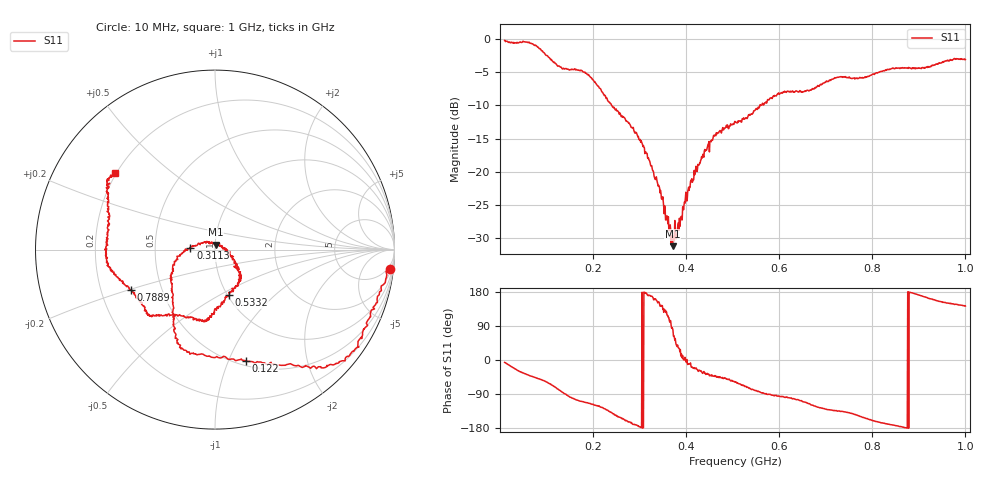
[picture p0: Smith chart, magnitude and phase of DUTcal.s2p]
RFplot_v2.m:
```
clear all
clc
%%%%% Declaration in the table
C0=-4.3* 1e-15
C1= 0.1 * 1e-27
C2=-11.5*1e-36
C3=0.12*1e-45


%%%%%%%%%%%%%%%%%%%%%%%%%%%%%%%%%%%%%%%%%%%%%%short calc

fid1 = fopen('short.s2p','r'); 
data = textscan(fid1,'%f %f %f %f %f %f %f  %f %f %f %f','HeaderLines',4);
formated_data = cell2mat(data);

real1=formated_data(:,2);
imag1=formated_data(:,3);
Gs1short(:,1) = real1+j*imag1;

        f=formated_data(:,1);

%%%%% mm to m conversion of lenth
l=8.4973 * 10^-3

% %%%%%%%%%%%%%%%%%%%%%%%%%%%%%%%%%
% f=1.5*10^9:0.006875000*10^9:7*10^9    

c= physconst('LightSpeed')
z0=50
%%%%%%%%%%%%%%%%%%%%%%%%%%%%%%%%%%%%%%%
lambda = c./f
Beta=(2*pi)./lambda
%%%%%%%%%%%%%%%%%%%%%%%%%%%%%%%%%%%%%%%%%%%%%%%%%%%%%%%%%%%%%%%%% reflection of open

Ce= (C0) + (C1.*f)+(C2*f.^2)+(C3*f.^3)

Grefl_open = rot90 (((1-2*j.*pi.*f.*Ce.*z0)./(1+2.*pi.*Ce.*z0)).*exp(-2j.*Beta.*l))
%%%%%%%%%%%%%%%%%%%%%%%%%%%%%%%%%%%%%%%%%%%%%%%%%%%%%%%%%%%%%%%%%%%%%%%%%%%%%%%%%%%%%%%%%%%%%%%%%%%%%%%%%%%%%%%%%%%%%%%%%%%%%%%%%%




% figure(1)
% plot(f,real(Grefl_open),f,imag(Grefl_open))
% legend('real','imaginary')
% xlabel ('Frequency Hz')
% title('open')
% grid on


% figure(2)
% plot(f,Grefl_db_open)
% grid on
% ylabel ('dB')
% xlabel ('Frequency Hz')
% 
% ylim([-2 2])
% xlim([10 10*10^9])




%%%%%%%%%%%%%%%%%%%%%%%%%%%%%%%%%%%%%%%%%%%%%%short calc

L=0

Grefl_short = rot90( ((j*2.*pi.*f.*L - z0)./(j.*2.*pi.*L + z0)).*exp(-2j.*Beta.*l) )

%%%%%%%%%%%%%%%%%%%%%%%%%%%%%%%%%%%%%%%%%%%%%%short calc




% figure(3)
% plot(f,real(Grefl_short),f,imag(Grefl_short))
% legend('real','imaginary')
% 
% % plot(f,Grefl_db_short)
% grid on
% title('short')
% ylabel ('dB')
% xlabel ('Frequency Hz')
% 





 
        
 %%%%%%%%%%%%%%%%%%%%%%%%%%%%%%%%%%%%%%%%%%%%%%open calc       
fid2 = fopen('open.s2p','r'); 
data2 = textscan(fid2,'%f %f %f %f %f %f %f  %f %f %f %f','HeaderLines',4);
formated_data2 = cell2mat(data2);

real2=formated_data2(:,2);
imag2=formated_data2(:,3);
Gs2open(:,1) = real2+j*imag2;
        
 %%%%%%%%%%%%%%%%%%%%%%%%%%%%%%%%%%%%%%%%%%%%%%load      
        fid3 = fopen('load.s2p','r'); 
data3 = textscan(fid3,'%f %f %f %f %f %f %f  %f %f %f %f','HeaderLines',4);
formated_data3 = cell2mat(data3);

real3=formated_data3(:,2);
imag3=formated_data3(:,3);
Gs3load(:,1) = real3+j*imag3;
                
 %%%%%%%%%%%%%%%%%%%%%%%%%%%%%%%%%%%%%%%%%%%%%%Gdutm     
                fid4 = fopen('DUTuncal.s2p','r'); 
data4 = textscan(fid4,'%f %f %f %f %f %f %f  %f %f %f %f','HeaderLines',4);
formated_data4 = cell2mat(data4);

real4=formated_data4(:,2);
imag4=formated_data4(:,3);
Gdutm(:,1) = real4+j*imag4;

Grefl_load=zeros(length(f),1);  %Grefl_load=1 Cannot be one




for i=1:length(f)   %The index has to have two terms removed because it starts with 1 and 1 already
        A=[1,Grefl_short(i).*Gs1short(i),-Grefl_short(i);1,Grefl_open(i).*Gs2open(i),-Grefl_open(i);1,Grefl_load(i).*Gs3load(i),-Grefl_load(i)];
        B=[Gs1short(i);Gs2open(i);Gs3load(i)];
        X=linsolve(A,B); %Calculated error terms
        e00(i,1)=X(1,1); %Directivity
        e11(i,1)=X(2,1); %Source Match
        delta_e(i,1)=X(3,1);
end

e10e01=(e00.*e11)-delta_e; %Reflection Tracking


%%%%%%%%%%%%%%%%%%%%%%%%%%%%%%%%%%%%Final part
R=(Gdutm-e00)./((Gdutm.*e11)-delta_e); %Real correct S11





 %%%%%%%%%%%%%%%%%%%%%%%%%%%%%%%%%%%%%%%%%%%%%%Gdutm     
fid5 = fopen('DUTcal.s2p','r');  
data5 = textscan(fid5,'%f %f %f %f %f %f %f  %f %f %f %f','HeaderLines',4);
formated_data5 = cell2mat(data5);

real5=formated_data5(:,2);
imag5=formated_data5(:,3);
Gmes(:,1) = real5+j*imag5;

 
figure(1)
plot(f/10^9,db(R),'-red',f/10^9,db(Gmes),'-blue',f/10^9,db(Gdutm),'-black')
grid on
legend('Corrected from Process','Measured in reality','not calibrated')
xlabel('Frequency in GHz')
ylabel('Magnitude')

figure(2)
plot(f/10^9,unwrap(angle(R)),'-red',f/10^9,unwrap(angle(Gmes)),'-blue',f/10^9,unwrap(angle(Gdutm)),'-black')
grid on
legend('Corrected from Process','Measured in reality','not calibrated')
xlabel('Frequency in GHz')
ylabel('Angle')
%e10e01=e00*e11-delta_e
%Gdut= (1/e11)*((e00-Gdutm)/(e00-((e10e01)/e11)-Gdutm))


figure(3)
plot(f/10^9,db(e00),'-red',f/10^9,db(e11),'-blue',f/10^9,db(delta_e),'-black')
grid on
legend('Directivity','Source Match','Tracking?')
xlabel('Frequency in GHz')
ylabel('Angle')
```
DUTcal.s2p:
! PocketVna 1.57  pocketvna.com
! Live measurements ((Reflection-S11) Linear 10000000-1000000000/1000 calibrated)
# Hz S RI R 50
! Hz  ReS11  ImS11  ReS21  ImS21  ReS12  ImS12  ReS22  ImS22
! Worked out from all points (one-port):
!   1000 points, 10 MHz to 1 GHz, reference 50 ohm
!   lowest |S11| = -31.3 dB at 370.7 MHz (marker M1), VSWR 1.06, Z = 50.2 + j2.73 ohm
!   |S11| at or under -10 dB: 240 MHz to 558.6 MHz (318.6 MHz wide, 79.8 % of centre)
!   S11 on the Smith chart (normalised r, x): 10 MHz: 3, -17; 122 MHz: 0.55, -1.16; 311.3 MHz: 0.76, +0.01; 533.2 MHz: 1.02, -0.55; 788.9 MHz: 0.33, -0.20; 1 GHz: 0.19, +0.33
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1e7  0.9744 -0.1102  0 0  0 0  0 0
6.252252e7  0.7251 -0.6196  0 0  0 0  0 0
1.21982e8  0.1708 -0.6189  0 0  0 0  0 0
1.814414e8  -0.2064 -0.5257  0 0  0 0  0 0
3.112613e8  -0.1367 0.00738  0 0  0 0  0 0
3.707207e8  0.00315 0.0271  0 0  0 0  0 0
4.440541e8  0.1152 -0.0889  0 0  0 0  0 0
5.054955e8  0.1231 -0.2043  0 0  0 0  0 0
5.332432e8  0.0786 -0.2522  0 0  0 0  0 0
7.889189e8  -0.4696 -0.2244  0 0  0 0  0 0
1e9  -0.5571 0.4283  0 0  0 0  0 0
